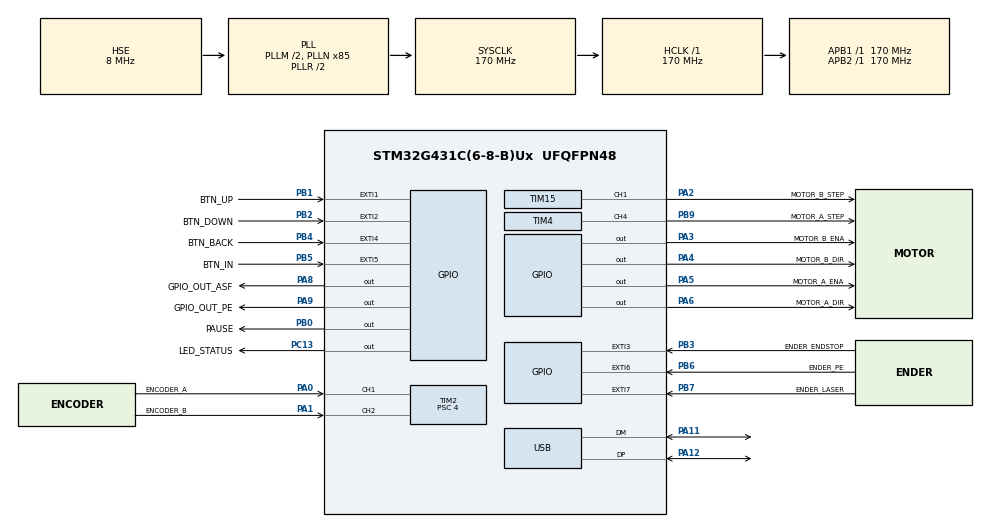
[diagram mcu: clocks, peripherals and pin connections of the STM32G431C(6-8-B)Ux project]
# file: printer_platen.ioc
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Dma.Request0=TIM2_UP
Dma.TIM2_UP.0.Direction=DMA_PERIPH_TO_MEMORY
Dma.TIM2_UP.0.EventEnable=DISABLE
Dma.TIM2_UP.0.Instance=DMA1_Channel1
Dma.TIM2_UP.0.MemDataAlignment=DMA_MDATAALIGN_WORD
Dma.TIM2_UP.0.MemInc=DMA_MINC_ENABLE
Dma.TIM2_UP.0.Mode=DMA_NORMAL
Dma.TIM2_UP.0.PeriphDataAlignment=DMA_PDATAALIGN_WORD
Dma.TIM2_UP.0.PeriphInc=DMA_PINC_DISABLE
Dma.TIM2_UP.0.Polarity=HAL_DMAMUX_REQ_GEN_RISING
Dma.TIM2_UP.0.Priority=DMA_PRIORITY_LOW
Dma.TIM2_UP.0.RequestNumber=1
Dma.TIM2_UP.0.SignalID=NONE
Dma.TIM2_UP.0.SyncEnable=DISABLE
Dma.TIM2_UP.0.SyncPolarity=HAL_DMAMUX_SYNC_NO_EVENT
Dma.TIM2_UP.0.SyncRequestNumber=1
Dma.TIM2_UP.0.SyncSignalID=NONE
Mcu.Family=STM32G4
Mcu.Name=STM32G431C(6-8-B)Ux
Mcu.Package=UFQFPN48
NVIC.DMA1_Channel1_IRQn=true\:0\:0\:false\:false\:true\:false\:true\:true
NVIC.EXTI1_IRQn=true\:0\:0\:true\:false\:true\:true\:true\:true
NVIC.EXTI2_IRQn=true\:0\:0\:true\:false\:true\:true\:true\:true
NVIC.EXTI3_IRQn=true\:0\:0\:true\:false\:true\:true\:true\:true
NVIC.EXTI4_IRQn=true\:0\:0\:true\:false\:true\:true\:true\:true
NVIC.EXTI9_5_IRQn=true\:0\:0\:true\:false\:true\:true\:true\:true
NVIC.PriorityGroup=NVIC_PRIORITYGROUP_4
NVIC.TIM2_IRQn=true\:0\:0\:false\:false\:true\:true\:true\:true
NVIC.TIM6_DAC_IRQn=true\:15\:0\:false\:false\:true\:true\:true\:true
NVIC.USB_LP_IRQn=true\:0\:0\:true\:false\:true\:false\:true\:true
PA0.GPIO_Label=ENCODER_A
PA0.GPIO_PuPd=GPIO_PULLUP
PA0.Signal=S_TIM2_CH1
PA1.GPIO_Label=ENCODER_B
PA1.GPIO_PuPd=GPIO_PULLUP
PA1.Signal=S_TIM2_CH2
PA11.Mode=Device
PA11.Signal=USB_DM
PA12.Mode=Device
PA12.Signal=USB_DP
PA13.Mode=Serial_Wire
PA13.Signal=SYS_JTMS-SWDIO
PA14.Mode=Serial_Wire
PA14.Signal=SYS_JTCK-SWCLK
PA2.GPIO_Label=MOTOR_B_STEP
PA2.Signal=S_TIM15_CH1
PA3.GPIO_Label=MOTOR_B_ENA
PA3.Signal=GPIO_Output
PA4.GPIO_Label=MOTOR_B_DIR
PA4.Signal=GPIO_Output
PA5.GPIO_Label=MOTOR_A_ENA
PA5.Signal=GPIO_Output
PA6.GPIO_Label=MOTOR_A_DIR
PA6.Signal=GPIO_Output
PA8.GPIO_Label=GPIO_OUT_ASF
PA8.GPIO_PuPd=GPIO_PULLDOWN
PA8.Signal=GPIO_Output
PA9.GPIO_Label=GPIO_OUT_PE
PA9.GPIO_PuPd=GPIO_PULLDOWN
PA9.Signal=GPIO_Output
PB0.GPIO_Label=PAUSE
PB0.Signal=GPIO_Output
PB1.GPIO_Label=BTN_UP
PB1.GPIO_ModeDefaultEXTI=GPIO_MODE_IT_RISING_FALLING
PB1.Signal=GPXTI1
PB2.GPIO_Label=BTN_DOWN
PB2.GPIO_ModeDefaultEXTI=GPIO_MODE_IT_RISING_FALLING
PB2.Signal=GPXTI2
PB3.GPIO_Label=ENDER_ENDSTOP
PB3.GPIO_ModeDefaultEXTI=GPIO_MODE_IT_RISING_FALLING
PB3.Signal=GPXTI3
PB4.GPIO_Label=BTN_BACK
PB4.GPIO_ModeDefaultEXTI=GPIO_MODE_IT_RISING_FALLING
PB4.Signal=GPXTI4
PB5.GPIO_Label=BTN_IN
PB5.GPIO_ModeDefaultEXTI=GPIO_MODE_IT_RISING_FALLING
PB5.Signal=GPXTI5
PB6.GPIO_Label=ENDER_PE
PB6.GPIO_ModeDefaultEXTI=GPIO_MODE_IT_RISING_FALLING
PB6.GPIO_PuPd=GPIO_NOPULL
PB6.Signal=GPXTI6
PB7.GPIO_Label=ENDER_LASER
PB7.GPIO_ModeDefaultEXTI=GPIO_MODE_IT_RISING_FALLING
PB7.GPIO_PuPd=GPIO_NOPULL
PB7.Signal=GPXTI7
PB9.GPIO_Label=MOTOR_A_STEP
PB9.Signal=S_TIM4_CH4
PC13.GPIO_Label=LED_STATUS
PC13.Signal=GPIO_Output
PF0-OSC_IN.Mode=HSE-External-Oscillator
PF0-OSC_IN.Signal=RCC_OSC_IN
PF1-OSC_OUT.Mode=HSE-External-Oscillator
PF1-OSC_OUT.Signal=RCC_OSC_OUT
ProjectManager.HeapSize=0x200
ProjectManager.StackSize=0x400
ProjectManager.TargetToolchain=STM32CubeIDE
RCC.ADC12Freq_Value=170000000
RCC.AHBFreq_Value=170000000
RCC.APB1Freq_Value=170000000
RCC.APB1TimFreq_Value=170000000
RCC.APB2Freq_Value=170000000
RCC.APB2TimFreq_Value=170000000
RCC.CK48CLockSelection=RCC_USBCLKSOURCE_HSI48
RCC.CortexFreq_Value=170000000
RCC.EXTERNAL_CLOCK_VALUE=12288000
RCC.HCLKFreq_Value=170000000
RCC.HSE_VALUE=8000000
RCC.HSI48_VALUE=48000000
RCC.HSI_VALUE=16000000
RCC.LSE_VALUE=32768
RCC.PLLM=RCC_PLLM_DIV2
RCC.PLLN=85
RCC.PLLQ=RCC_PLLQ_DIV4
RCC.PLLSourceVirtual=RCC_PLLSOURCE_HSE
RCC.SYSCLKFreq_VALUE=170000000
RCC.SYSCLKSource=RCC_SYSCLKSOURCE_PLLCLK
RCC.USBFreq_Value=48000000
RCC.VCOOutputFreq_Value=340000000
SH.S_TIM15_CH1.0=TIM15_CH1,Output Compare1 CH1
SH.S_TIM2_CH1.0=TIM2_CH1,Encoder_Interface
SH.S_TIM2_CH2.0=TIM2_CH2,Encoder_Interface
SH.S_TIM4_CH4.0=TIM4_CH4,Output Compare4 CH4
TIM15.Channel-Output\ Compare1\ CH1=TIM_CHANNEL_1
TIM15.OC1Preload=ENABLE
TIM15.OCMode_1=TIM_OCMODE_TOGGLE
TIM15.PeriodNoDither=1000-1
TIM15.Prescaler=170-1
TIM15.PulseNoDither_1=200
TIM2.AutoReloadPreload=TIM_AUTORELOAD_PRELOAD_DISABLE
TIM2.EncoderMode=TIM_ENCODERMODE_TI12
TIM2.IC1Filter=0
TIM2.IC1Polarity=TIM_ICPOLARITY_FALLING
TIM2.IC2Filter=0
TIM2.IC2Polarity=TIM_ICPOLARITY_FALLING
TIM2.PeriodNoDither=65536
TIM2.Prescaler=4
TIM4.Channel-Output\ Compare4\ CH4=TIM_CHANNEL_4
TIM4.OC4Preload=ENABLE
TIM4.OCMode_4=TIM_OCMODE_TOGGLE
TIM4.PeriodNoDither=1000-1
TIM4.Prescaler=170-1
TIM4.PulseNoDither_4=200
TIM6.PeriodNoDither=30000
TIM6.Prescaler=2500
TIM6.TIM_MasterOutputTrigger=TIM_TRGO_UPDATE
USB_DEVICE.CLASS_NAME_FS=CDC
USB_DEVICE.PRODUCT_STRING_CDC_FS=printer_platen
USB_DEVICE.VirtualMode=Cdc
USB_DEVICE.VirtualModeFS=Cdc_FS
VP_SYS_VS_DBSignals.Mode=DisableDeadBatterySignals
VP_TIM15_VS_ClockSourceINT.Mode=Internal
VP_TIM4_VS_ClockSourceINT.Mode=Internal
VP_TIM6_VS_ClockSourceINT.Mode=Enable_Timer
VP_USB_DEVICE_VS_USB_DEVICE_CDC_FS.Mode=CDC_FS
board=custom

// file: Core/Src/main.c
/* USER CODE BEGIN Header */
/**
  ******************************************************************************
  * @file           : main.c
  * @brief          : Main program body
  ******************************************************************************
  * @attention
  *
  * Copyright (c) 2024 STMicroelectronics.
  * All rights reserved.
  *
  * This software is licensed under terms that can be found in the LICENSE file
  * in the root directory of this software component.
  * If no LICENSE file comes with this software, it is provided AS-IS.
  *
  ******************************************************************************
  */
/* USER CODE END Header */
#include "main.h"
#include "dma.h"
#include "tim.h"
#include "usb_device.h"
#include "gpio.h"

/* USER CODE BEGIN Includes */
#include "usbd_cdc_if.h"
/* USER CODE END Includes */

/* USER CODE BEGIN PV */

//uint8_t buf[50];
//
//uint32_t bufA[10];
//uint32_t bufB[10];

/* USER CODE END PV */

void SystemClock_Config(void);
/* USER CODE BEGIN PFP */

extern void app_init(void);
//extern void app_loop(void) __attribute__((always_inline));
extern   void app_loop(void) ;

/* USER CODE END PFP */

/* USER CODE BEGIN 0 */
//int32_t prevCounter = 0;
//
//uint32_t counter = 0;
//
//int16_t count = 0;
//
//int16_t position = 0;
//
//uint8_t buflen;
//
//int speed =0;

//void HAL_TIM_IC_CaptureCallback(TIM_HandleTypeDef *htim)
//{
//	counter = __HAL_TIM_GET_COUNTER(htim);
//	buflen = sprintf((char*)buf, "%d\r\n", (int)counter);
//	CDC_Transmit_FS(buf, buflen);
//
//}

/* USER CODE END 0 */

int main(void)
{

  /* MCU Configuration--------------------------------------------------------*/

  /* Reset of all peripherals, Initializes the Flash interface and the Systick. */
  HAL_Init();

  /* Configure the system clock */
  SystemClock_Config();

  /* Initialize all configured peripherals */
  MX_GPIO_Init();
  MX_DMA_Init();
  MX_TIM2_Init();
  MX_TIM4_Init();
  MX_TIM15_Init();
  MX_USB_Device_Init();
  MX_TIM6_Init();
  /* USER CODE BEGIN 2 */

  // HAL_TIM_Encoder_Start_DMA(&htim2, TIM_CHANNEL_ALL, bufA, bufB, 2);
  HAL_TIM_Encoder_Start_IT(&htim2, TIM_CHANNEL_ALL);
  app_init();

  /* USER CODE END 2 */

  /* Infinite loop */
  /* USER CODE BEGIN WHILE */
  while (1)
  {
     app_loop();
    /* USER CODE END WHILE */

  }
}

void SystemClock_Config(void)
{
  RCC_OscInitTypeDef RCC_OscInitStruct = {0};
  RCC_ClkInitTypeDef RCC_ClkInitStruct = {0};

  /** Configure the main internal regulator output voltage
  */
  HAL_PWREx_ControlVoltageScaling(PWR_REGULATOR_VOLTAGE_SCALE1_BOOST);

  /** Initializes the RCC Oscillators according to the specified parameters
  * in the RCC_OscInitTypeDef structure.
  */
  RCC_OscInitStruct.OscillatorType = RCC_OSCILLATORTYPE_HSI48|RCC_OSCILLATORTYPE_HSE;
  RCC_OscInitStruct.HSEState = RCC_HSE_ON;
  RCC_OscInitStruct.HSI48State = RCC_HSI48_ON;
  RCC_OscInitStruct.PLL.PLLState = RCC_PLL_ON;
  RCC_OscInitStruct.PLL.PLLSource = RCC_PLLSOURCE_HSE;
  RCC_OscInitStruct.PLL.PLLM = RCC_PLLM_DIV2;
  RCC_OscInitStruct.PLL.PLLN = 85;
  RCC_OscInitStruct.PLL.PLLP = RCC_PLLP_DIV2;
  RCC_OscInitStruct.PLL.PLLQ = RCC_PLLQ_DIV4;
  RCC_OscInitStruct.PLL.PLLR = RCC_PLLR_DIV2;
  if (HAL_RCC_OscConfig(&RCC_OscInitStruct) != HAL_OK)
  {
    Error_Handler();
  }

  /** Initializes the CPU, AHB and APB buses clocks
  */
  RCC_ClkInitStruct.ClockType = RCC_CLOCKTYPE_HCLK|RCC_CLOCKTYPE_SYSCLK
                              |RCC_CLOCKTYPE_PCLK1|RCC_CLOCKTYPE_PCLK2;
  RCC_ClkInitStruct.SYSCLKSource = RCC_SYSCLKSOURCE_PLLCLK;
  RCC_ClkInitStruct.AHBCLKDivider = RCC_SYSCLK_DIV1;
  RCC_ClkInitStruct.APB1CLKDivider = RCC_HCLK_DIV1;
  RCC_ClkInitStruct.APB2CLKDivider = RCC_HCLK_DIV1;

  if (HAL_RCC_ClockConfig(&RCC_ClkInitStruct, FLASH_LATENCY_4) != HAL_OK)
  {
    Error_Handler();
  }
}

/* USER CODE BEGIN 4 */

void testTick(){
	char buf_tx[100];
	  int len;
	  int tmp;
	  tmp = HAL_GetTick();
	  len = sprintf(buf_tx, "tick1 %d\r\n", tmp);
	  CDC_Transmit_FS((uint8_t*)buf_tx, len);
	  HAL_Delay(200);
	  len = sprintf(buf_tx, "tick2 %d\r\n", (int)HAL_GetTick());
	  CDC_Transmit_FS((uint8_t*)buf_tx, len);
	  HAL_Delay(200);
}

/* USER CODE END 4 */

void Error_Handler(void)
{
  __disable_irq();
  while (1)
  {
  }
}
